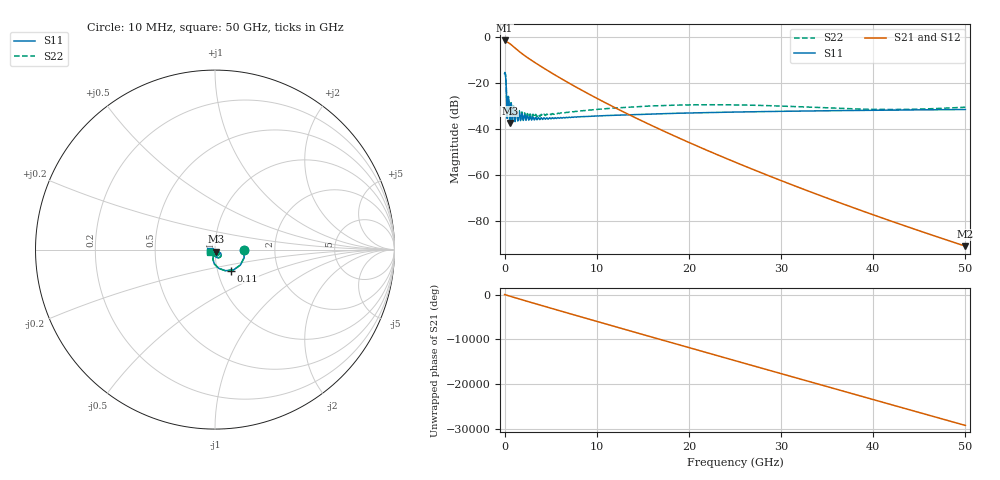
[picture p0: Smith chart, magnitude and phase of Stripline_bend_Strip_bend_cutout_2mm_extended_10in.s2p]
! Touchstone file exported from HFSS 3D Layout Design 2025.1.0
!  File:  /vlsi/proj/neon/be/die0/users/eduard.sonkin/Ansys/Ansys/UCIE/Stripline/Stripline_bend.aedt
!  Generated:  08:29:34 PM Mar 19, 2025
!  Design:  Strip_bend_cutout_2mm_extended_5_10_inch
!  Project:  Stripline_bend
!  Setup:  Setup1
!  Solution:  Sweep1
! Variables:
!  $Tline = 18um
!  $Yspace = 69
!  apDia = 50mil
!  padDia = 30mil
!  viaDia = 20mil
!  w50strip = 12.4mil
!  w50ustrip = 50mil
# GHz S MA R 50.000000
! Terminal data exported
! Port[1] = Port1
! Port[2] = Port2
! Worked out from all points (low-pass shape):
!   5000 points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, 10 MHz to 50 GHz, reference 50 ohm
!   highest |S21| = -1.52 dB at 10 MHz (marker M1); lowest = -90.8 dB at 50 GHz (marker M2)
!   |S21| within 3 dB of the highest: start of sweep to 1.065 GHz
!   lowest |S11| = -37.3 dB at 570 MHz (marker M3), VSWR 1.03, Z = 50.7 - j1.21 ohm
!   |S11| at or under -10 dB: start of sweep to end of sweep
!   |S22| runs from -37.1 to -15.5 dB; largest |S21 - S12| = 1.4e-14
!   S11 on the Smith chart (normalised r, x): 10 MHz: 1.38, -0.01; 110 MHz: 1.16, -0.28; 50 GHz: 0.95, -0.02
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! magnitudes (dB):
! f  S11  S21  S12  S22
! 10 MHz  -15.9  -1.5  -1.5  -15.9
! 110 MHz  -16.7  -1.9  -1.9  -16.7
! 250 MHz  -30.3  -2.1  -2.1  -30.3
! 410 MHz  -25.9  -2.5  -2.5  -25.8
! 480 MHz  -28.2  -2.6  -2.6  -28.1
! 570 MHz  -37.3  -2.9  -2.9  -37.1
! 710 MHz  -28.7  -3.3  -3.3  -28.5
! 860 MHz  -37.1  -3.8  -3.8  -36.8
! 1.02 GHz  -30.6  -4.4  -4.4  -30.3
! 1.15 GHz  -36.7  -4.8  -4.8  -36.4
! 1.31 GHz  -31.7  -5.4  -5.4  -31.3
! 1.45 GHz  -36.4  -5.8  -5.8  -36.0
! 1.6 GHz  -32.5  -6.3  -6.3  -32.0
! 1.74 GHz  -36.3  -6.8  -6.8  -35.7
! 2.49 GHz  -34.2  -9.0  -9.0  -33.2
! 8.35 GHz  -34.6  -23.0  -23.0  -32.1
! 16.68 GHz  -33.3  -39.7  -39.7  -29.8
! 25.01 GHz  -32.6  -54.3  -54.3  -29.5
! 33.34 GHz  -32.1  -67.4  -67.4  -30.5
! 41.67 GHz  -31.7  -79.5  -79.5  -31.5
! 42.26 GHz  -31.7  -80.3  -80.3  -31.5
! 50 GHz  -31.5  -90.8  -90.8  -30.5
